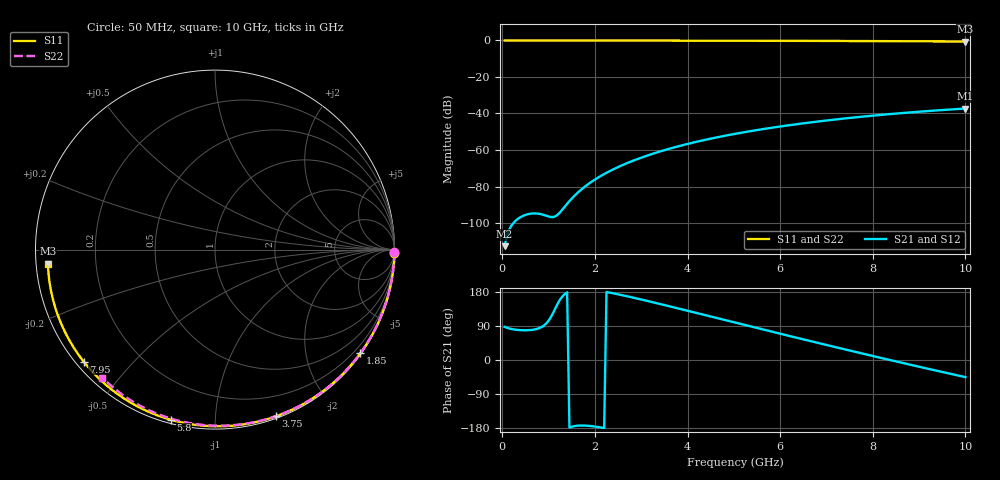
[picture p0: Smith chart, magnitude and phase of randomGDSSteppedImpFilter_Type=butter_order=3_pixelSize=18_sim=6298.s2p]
! freq	dB(S11)	phase(S11)	dB(S12)	phase(S12)
!  dB(S21)	phase(S21)	dB(S22)	phase(S22)
!S-par simulation data
#  GHz  S  DB  R 50
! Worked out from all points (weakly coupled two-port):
!   200 points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, 50 MHz to 10 GHz, reference 50 ohm
!   highest |S21| = -37.28 dB at 10 GHz (marker M1); lowest = -112.7 dB at 50 MHz (marker M2)
!   lowest |S11| = -0.6 dB at 10 GHz (marker M3), VSWR 29.34, Z = 1.71 - j2.11 ohm
!   |S11| at or under -10 dB: nowhere
!   |S22| runs from -0.4 to 0.0 dB; largest |S21 - S12| = 0
!   S11 on the Smith chart (normalised r, x): 50 MHz: open; 1.85 GHz: 0.03, -3.13; 3.75 GHz: 0.02, -1.43; 5.8 GHz: 0.02, -0.77; 7.95 GHz: 0.02, -0.37; 10 GHz: 0.03, -0.04
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0.05  -0.00 -1.0  -112.68 87.4  -112.68 87.4  -0.00 -0.8
0.45  -0.01 -8.8  -96.05 78.5  -96.05 78.5  -0.01 -6.8
0.85  -0.02 -16.5  -95.24 87.1  -95.24 87.1  -0.02 -12.8
1.3  -0.03 -25.1  -92.54 168.1  -92.54 168.1  -0.02 -19.5
1.75  -0.04 -33.6  -80.73 -172.9  -80.73 -172.9  -0.03 -26.2
1.8  -0.04 -34.5  -79.74 -173.2  -79.74 -173.2  -0.03 -26.9
1.85  -0.04 -35.5  -78.79 -173.6  -78.79 -173.6  -0.04 -27.6
2  -0.05 -38.3  -76.19 -175.6  -76.19 -175.6  -0.04 -29.8
2.15  -0.05 -41.0  -73.89 -178.4  -73.89 -178.4  -0.04 -32.0
2.5  -0.06 -47.5  -69.35 173.3  -69.35 173.3  -0.05 -37.1
2.9  -0.07 -54.8  -65.14 162.5  -65.14 162.5  -0.06 -42.8
3.4  -0.08 -63.7  -60.85 148.0  -60.85 148.0  -0.07 -49.8
3.75  -0.10 -69.9  -58.32 137.5  -58.32 137.5  -0.07 -54.7
4.4  -0.12 -81.2  -54.33 117.9  -54.33 117.9  -0.09 -63.5
5.05  -0.14 -92.1  -51.04 98.1  -51.04 98.1  -0.11 -72.1
5.8  -0.18 -104.6  -47.88 75.4  -47.88 75.4  -0.14 -81.8
6.7  -0.24 -119.2  -44.75 48.5  -44.75 48.5  -0.18 -93.0
7.3  -0.28 -129.0  -42.98 30.8  -42.98 30.8  -0.21 -100.2
7.95  -0.34 -139.6  -41.30 12.0  -41.30 12.0  -0.26 -107.9
8.35  -0.38 -146.2  -40.38 0.5  -40.38 0.5  -0.29 -112.6
9.2  -0.48 -160.7  -38.65 -23.4  -38.65 -23.4  -0.36 -122.3
10  -0.59 -175.2  -37.28 -45.2  -37.28 -45.2  -0.44 -131.3
